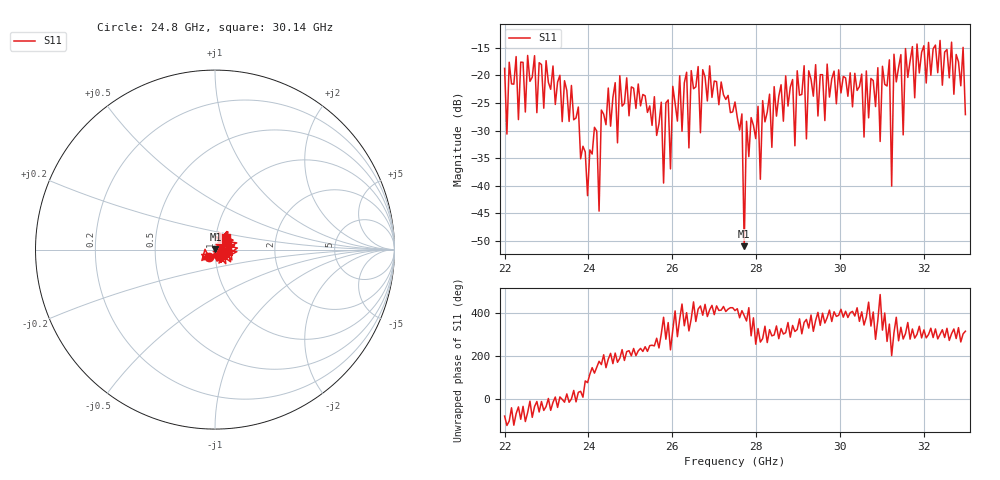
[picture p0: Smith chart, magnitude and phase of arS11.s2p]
!Keysight Technologies,N5224B,MY57181201,A.12.70.07
!Date: Friday, July 15, 2022 11:53:32
!Correction: S11(Off)
!S21(Off)
!S12(Off)
!S22(Off)
!S2P File: Measurements: S11, S21, S12, S22:
# Hz S  dB  R 50
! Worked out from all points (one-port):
!   201 points, 22 GHz to 33 GHz, reference 50 ohm
!   lowest |S11| = -51.0 dB at 27.72 GHz (marker M1), VSWR 1.01, Z = 50.3 + j0.127 ohm
!   |S11| at or under -10 dB: start of sweep to end of sweep
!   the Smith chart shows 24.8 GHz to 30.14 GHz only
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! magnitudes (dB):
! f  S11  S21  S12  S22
! 22 GHz  -18.7  -  -  -
! 23.87 GHz  -32.9  -  -  -
! 24.2 GHz  -30.1  -  -  -
! 24.25 GHz  -44.6  -  -  -
! 24.31 GHz  -26.3  -  -  -
! 24.48 GHz  -22.3  -  -  -
! 25.68 GHz  -28.8  -  -  -
! 27.5 GHz  -24.8  -  -  -
! 27.66 GHz  -27.0  -  -  -
! 27.72 GHz  -51.0  -  -  -
! 27.77 GHz  -28.3  -  -  -
! 29.37 GHz  -23.8  -  -  -
! 30.91 GHz  -18.6  -  -  -
! 30.96 GHz  -32.0  -  -  -
! 31.18 GHz  -17.2  -  -  -
! 31.24 GHz  -40.1  -  -  -
! 31.3 GHz  -16.2  -  -  -
! 31.52 GHz  -30.8  -  -  -
! 31.57 GHz  -15.1  -  -  -
! 31.84 GHz  -14.3  -  -  -
! 32.95 GHz  -14.9  -  -  -
! 33 GHz  -27.1  -  -  -
